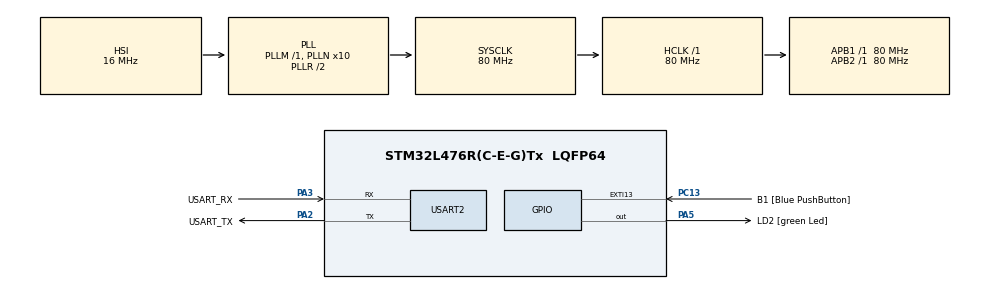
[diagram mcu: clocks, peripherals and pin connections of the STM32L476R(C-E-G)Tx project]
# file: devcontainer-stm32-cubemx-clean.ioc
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Mcu.Family=STM32L4
Mcu.Name=STM32L476R(C-E-G)Tx
Mcu.Package=LQFP64
NVIC.PriorityGroup=NVIC_PRIORITYGROUP_4
PA13\ (JTMS-SWDIO).GPIO_Label=TMS
PA13\ (JTMS-SWDIO).Mode=Serial_Wire
PA13\ (JTMS-SWDIO).Signal=SYS_JTMS-SWDIO
PA14\ (JTCK-SWCLK).GPIO_Label=TCK
PA14\ (JTCK-SWCLK).Mode=Serial_Wire
PA14\ (JTCK-SWCLK).Signal=SYS_JTCK-SWCLK
PA2.GPIO_Label=USART_TX
PA2.GPIO_Mode=GPIO_MODE_AF_PP
PA2.GPIO_PuPd=GPIO_NOPULL
PA2.GPIO_Speed=GPIO_SPEED_FREQ_VERY_HIGH
PA2.Mode=Asynchronous
PA2.Signal=USART2_TX
PA3.GPIO_Label=USART_RX
PA3.GPIO_Mode=GPIO_MODE_AF_PP
PA3.GPIO_PuPd=GPIO_NOPULL
PA3.GPIO_Speed=GPIO_SPEED_FREQ_VERY_HIGH
PA3.Mode=Asynchronous
PA3.Signal=USART2_RX
PA5.GPIO_Label=LD2 [green Led]
PA5.GPIO_ModeDefaultOutputPP=GPIO_MODE_OUTPUT_PP
PA5.GPIO_PuPd=GPIO_NOPULL
PA5.GPIO_Speed=GPIO_SPEED_FREQ_LOW
PA5.Signal=GPIO_Output
PB3\ (JTDO-TRACESWO).GPIO_Label=SWO
PB3\ (JTDO-TRACESWO).Signal=SYS_JTDO-SWO
PC13.GPIO_Label=B1 [Blue PushButton]
PC13.GPIO_ModeDefaultEXTI=GPIO_MODE_IT_FALLING
PC13.GPIO_PuPd=GPIO_NOPULL
PC13.Signal=GPXTI13
PC14-OSC32_IN\ (PC14).Mode=LSE-External-Oscillator
PC14-OSC32_IN\ (PC14).Signal=RCC_OSC32_IN
PC15-OSC32_OUT\ (PC15).Mode=LSE-External-Oscillator
PC15-OSC32_OUT\ (PC15).Signal=RCC_OSC32_OUT
PH0-OSC_IN\ (PH0).Signal=RCC_OSC_IN
PH1-OSC_OUT\ (PH1).Signal=RCC_OSC_OUT
ProjectManager.HeapSize=0x200
ProjectManager.StackSize=0x400
ProjectManager.TargetToolchain=CMake
RCC.ADCFreq_Value=64000000
RCC.AHBFreq_Value=80000000
RCC.APB1Freq_Value=80000000
RCC.APB1TimFreq_Value=80000000
RCC.APB2Freq_Value=80000000
RCC.APB2TimFreq_Value=80000000
RCC.CortexFreq_Value=80000000
RCC.HCLKFreq_Value=80000000
RCC.HSE_VALUE=8000000
RCC.HSI_VALUE=16000000
RCC.MSI_VALUE=4000000
RCC.PLLN=10
RCC.PLLSourceVirtual=RCC_PLLSOURCE_HSI
RCC.PREFETCH_ENABLE=1
RCC.SYSCLKFreq_VALUE=80000000
RCC.SYSCLKSource=RCC_SYSCLKSOURCE_PLLCLK
RCC.USBFreq_Value=64000000
RCC.VCOOutputFreq_Value=160000000
USART2.VirtualMode-Asynchronous=VM_ASYNC
board=NUCLEO-L476RG

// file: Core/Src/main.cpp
/* USER CODE BEGIN Header */
/**
 ******************************************************************************
 * @file           : main.c
 * @brief          : Main program body
 ******************************************************************************
 * @attention
 *
 * Copyright (c) 2024 STMicroelectronics.
 * All rights reserved.
 *
 * This software is licensed under terms that can be found in the LICENSE file
 * in the root directory of this software component.
 * If no LICENSE file comes with this software, it is provided AS-IS.
 *
 ******************************************************************************
 */
/* USER CODE END Header */
#include "main.h"
#include "gpio.h"
#include "usart.h"
#include <stm32l476xx.h>

/* USER CODE BEGIN Includes */
#include <cstdint>
#include <cstdlib>
#include <cstring>

/* USER CODE END Includes */

/* USER CODE BEGIN PD */
#define LD1_Pin 1
#define LD3_Pin 2
/* USER CODE END PD */

void SystemClock_Config(void);
/* USER CODE BEGIN PFP */
const int timeout = 5;

/* USER CODE END PFP */

/* USER CODE BEGIN 0 */

std::uint8_t buffer[1];

void HAL_UART_RxCpltCallback(UART_HandleTypeDef* huart)
{
    if (huart->Instance == USART2) {
        switch (std::atoi((const char*)buffer)) {
            case 1:
                HAL_GPIO_WritePin(GPIOA, LD1_Pin, GPIO_PIN_SET);
                HAL_GPIO_WritePin(GPIOA, LD2_Pin, GPIO_PIN_RESET);
                HAL_GPIO_WritePin(GPIOA, LD3_Pin, GPIO_PIN_RESET);

            case 2:
                HAL_GPIO_WritePin(GPIOA, LD1_Pin, GPIO_PIN_RESET);
                HAL_GPIO_WritePin(GPIOA, LD2_Pin, GPIO_PIN_SET);
                HAL_GPIO_WritePin(GPIOA, LD3_Pin, GPIO_PIN_RESET);

            case 3:
                HAL_GPIO_WritePin(GPIOA, LD1_Pin, GPIO_PIN_RESET);
                HAL_GPIO_WritePin(GPIOA, LD2_Pin, GPIO_PIN_RESET);
                HAL_GPIO_WritePin(GPIOA, LD3_Pin, GPIO_PIN_SET);

            default:
                HAL_GPIO_WritePin(GPIOA, LD1_Pin, GPIO_PIN_RESET);
                HAL_GPIO_WritePin(GPIOA, LD2_Pin, GPIO_PIN_RESET);
                HAL_GPIO_WritePin(GPIOA, LD3_Pin, GPIO_PIN_RESET);
        }

        if (HAL_UART_Receive_IT(&huart2, buffer, sizeof(buffer)) != HAL_OK) {
            Error_Handler();
        }
    }
}
/* USER CODE END 0 */

int main(void)
{

    /* MCU Configuration--------------------------------------------------------*/

    /* Reset of all peripherals, Initializes the Flash interface and the Systick. */
    HAL_Init();

    /* Configure the system clock */
    SystemClock_Config();

    /* Initialize all configured peripherals */
    MX_GPIO_Init();
    MX_USART2_UART_Init();
    /* USER CODE BEGIN 2 */

    std::uint8_t buffer[1];

    HAL_UART_Receive_IT(&huart2, buffer, sizeof(buffer));

    /* USER CODE END 2 */

    /* Infinite loop */
    while (1) {

        /* USER CODE BEGIN 3 */

        if (HAL_UART_Receive(&huart2, buffer, sizeof(buffer), timeout) != HAL_OK) {
            Error_Handler();
        }

        switch (std::atoi((const char*)buffer)) {
            case 1:
                HAL_GPIO_WritePin(GPIOA, LD1_Pin, GPIO_PIN_SET);
                HAL_GPIO_WritePin(GPIOA, LD2_Pin, GPIO_PIN_RESET);
                HAL_GPIO_WritePin(GPIOA, LD3_Pin, GPIO_PIN_RESET);

            case 2:
                HAL_GPIO_WritePin(GPIOA, LD1_Pin, GPIO_PIN_RESET);
                HAL_GPIO_WritePin(GPIOA, LD2_Pin, GPIO_PIN_SET);
                HAL_GPIO_WritePin(GPIOA, LD3_Pin, GPIO_PIN_RESET);

            case 3:
                HAL_GPIO_WritePin(GPIOA, LD1_Pin, GPIO_PIN_RESET);
                HAL_GPIO_WritePin(GPIOA, LD2_Pin, GPIO_PIN_RESET);
                HAL_GPIO_WritePin(GPIOA, LD3_Pin, GPIO_PIN_SET);

            default:
                HAL_GPIO_WritePin(GPIOA, LD1_Pin, GPIO_PIN_RESET);
                HAL_GPIO_WritePin(GPIOA, LD2_Pin, GPIO_PIN_RESET);
                HAL_GPIO_WritePin(GPIOA, LD3_Pin, GPIO_PIN_RESET);
        }
    }
}
/* USER CODE END 3 */

void SystemClock_Config(void)
{
    RCC_OscInitTypeDef RCC_OscInitStruct = {0};
    RCC_ClkInitTypeDef RCC_ClkInitStruct = {0};

    /** Configure the main internal regulator output voltage
     */
    if (HAL_PWREx_ControlVoltageScaling(PWR_REGULATOR_VOLTAGE_SCALE1) != HAL_OK) {
        Error_Handler();
    }

    /** Initializes the RCC Oscillators according to the specified parameters
     * in the RCC_OscInitTypeDef structure.
     */
    RCC_OscInitStruct.OscillatorType = RCC_OSCILLATORTYPE_HSI;
    RCC_OscInitStruct.HSIState = RCC_HSI_ON;
    RCC_OscInitStruct.HSICalibrationValue = RCC_HSICALIBRATION_DEFAULT;
    RCC_OscInitStruct.PLL.PLLState = RCC_PLL_ON;
    RCC_OscInitStruct.PLL.PLLSource = RCC_PLLSOURCE_HSI;
    RCC_OscInitStruct.PLL.PLLM = 1;
    RCC_OscInitStruct.PLL.PLLN = 10;
    RCC_OscInitStruct.PLL.PLLP = RCC_PLLP_DIV7;
    RCC_OscInitStruct.PLL.PLLQ = RCC_PLLQ_DIV2;
    RCC_OscInitStruct.PLL.PLLR = RCC_PLLR_DIV2;
    if (HAL_RCC_OscConfig(&RCC_OscInitStruct) != HAL_OK) {
        Error_Handler();
    }

    /** Initializes the CPU, AHB and APB buses clocks
     */
    RCC_ClkInitStruct.ClockType = RCC_CLOCKTYPE_HCLK | RCC_CLOCKTYPE_SYSCLK | RCC_CLOCKTYPE_PCLK1 | RCC_CLOCKTYPE_PCLK2;
    RCC_ClkInitStruct.SYSCLKSource = RCC_SYSCLKSOURCE_PLLCLK;
    RCC_ClkInitStruct.AHBCLKDivider = RCC_SYSCLK_DIV1;
    RCC_ClkInitStruct.APB1CLKDivider = RCC_HCLK_DIV1;
    RCC_ClkInitStruct.APB2CLKDivider = RCC_HCLK_DIV1;

    if (HAL_RCC_ClockConfig(&RCC_ClkInitStruct, FLASH_LATENCY_4) != HAL_OK) {
        Error_Handler();
    }
}

void Error_Handler(void)
{
    __disable_irq();
    while (1) {
    }
}
